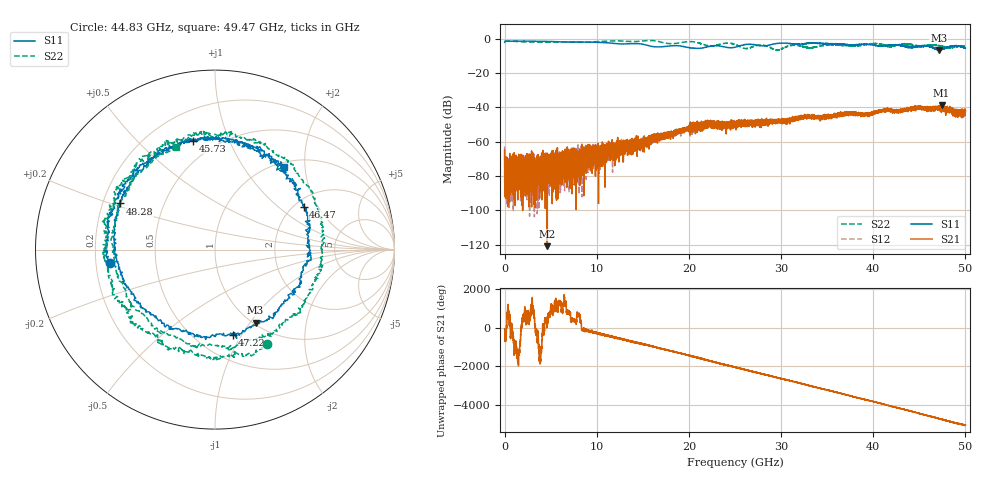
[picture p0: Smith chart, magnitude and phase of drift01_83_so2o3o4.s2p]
!Created with skrf (http://scikit-rf.org).
# Hz S RI R 50.0
!freq ReS11 ImS11 ReS21 ImS21 ReS12 ImS12 ReS22 ImS22
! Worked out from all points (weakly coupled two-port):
!   10001 points, 300 kHz to 50 GHz, reference 50 ohm
!   highest |S21| = -38.77 dB at 47.41 GHz (marker M1); lowest = -120.9 dB at 4.63 GHz (marker M2)
!   lowest |S11| = -6.6 dB at 47.1 GHz (marker M3), VSWR 2.74, Z = 51.2 - j53.2 ohm
!   |S11| at or under -10 dB: nowhere
!   |S22| runs from -6.8 to -1.0 dB; largest |S21 - S12| = 0.0036
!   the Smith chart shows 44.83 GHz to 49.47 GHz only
!   S11 on the Smith chart (normalised r, x): 44.83 GHz: 0.26, -0.06; 45.73 GHz: 0.38, +0.75; 46.47 GHz: 2.23, +1.53; 47.22 GHz: 0.74, -0.91; 48.28 GHz: 0.27, +0.21; 49.47 GHz: 1.08, +1.55
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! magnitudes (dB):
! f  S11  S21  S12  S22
! 300 kHz  -2.1  -64.9  -62.7  -1.3
! 345.3 MHz  -1.4  -83.1  -81.2  -1.4
! 4.63 GHz  -1.6  -120.9  -77.7  -2.1
! 8.335 GHz  -1.9  -70.4  -69.6  -2.1
! 16.67 GHz  -4.8  -58.6  -57.3  -1.6
! 21.28 GHz  -5.5  -49.7  -50.3  -2.9
! 25 GHz  -5.0  -49.7  -50.1  -3.4
! 26.19 GHz  -3.4  -49.9  -48.8  -5.7
! 28.08 GHz  -4.2  -49.7  -50.2  -3.8
! 29.56 GHz  -2.8  -47.4  -48.0  -6.7
! 31.29 GHz  -3.1  -47.4  -47.5  -3.9
! 33.34 GHz  -2.6  -45.7  -45.8  -5.4
! 41.67 GHz  -3.9  -41.3  -41.2  -4.4
! 44.83 GHz  -4.6  -40.4  -40.7  -4.4
! 45.73 GHz  -4.2  -40.5  -41.2  -4.2
! 46.47 GHz  -5.2  -41.4  -40.6  -3.8
! 47.1 GHz  -6.6  -40.4  -40.8  -4.1
! 47.22 GHz  -6.3  -39.3  -39.9  -4.1
! 47.41 GHz  -6.3  -38.8  -40.4  -4.3
! 48.28 GHz  -4.6  -43.1  -41.9  -5.4
! 49.47 GHz  -4.5  -42.9  -42.5  -4.3
! 50 GHz  -5.6  -42.5  -43.3  -4.2
